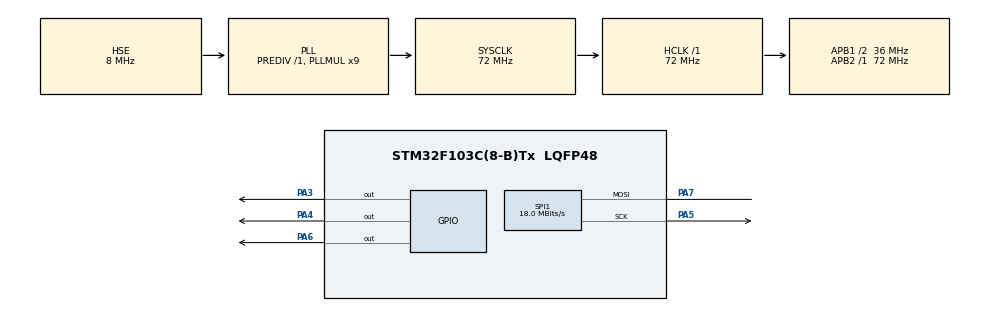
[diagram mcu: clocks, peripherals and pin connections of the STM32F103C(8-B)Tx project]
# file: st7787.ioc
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Mcu.Family=STM32F1
Mcu.Name=STM32F103C(8-B)Tx
Mcu.Package=LQFP48
NVIC.PriorityGroup=NVIC_PRIORITYGROUP_4
PA13.Mode=Serial_Wire
PA13.Signal=SYS_JTMS-SWDIO
PA14.Mode=Serial_Wire
PA14.Signal=SYS_JTCK-SWCLK
PA3.Signal=GPIO_Output
PA4.Signal=GPIO_Output
PA5.Mode=Simplex_Bidirectional_Master
PA5.Signal=SPI1_SCK
PA6.Signal=GPIO_Output
PA7.Mode=Simplex_Bidirectional_Master
PA7.Signal=SPI1_MOSI
PC14-OSC32_IN.Mode=LSE-External-Oscillator
PC14-OSC32_IN.Signal=RCC_OSC32_IN
PC15-OSC32_OUT.Mode=LSE-External-Oscillator
PC15-OSC32_OUT.Signal=RCC_OSC32_OUT
PD0-OSC_IN.Mode=HSE-External-Oscillator
PD0-OSC_IN.Signal=RCC_OSC_IN
PD1-OSC_OUT.Mode=HSE-External-Oscillator
PD1-OSC_OUT.Signal=RCC_OSC_OUT
ProjectManager.HeapSize=0x200
ProjectManager.StackSize=0x400
ProjectManager.TargetToolchain=MDK-ARM V5.32
RCC.AHBFreq_Value=72000000
RCC.APB1CLKDivider=RCC_HCLK_DIV2
RCC.APB1Freq_Value=36000000
RCC.APB1TimFreq_Value=72000000
RCC.APB2Freq_Value=72000000
RCC.APB2TimFreq_Value=72000000
RCC.HCLKFreq_Value=72000000
RCC.PLLMUL=RCC_PLL_MUL9
RCC.PLLSourceVirtual=RCC_PLLSOURCE_HSE
RCC.SYSCLKFreq_VALUE=72000000
RCC.SYSCLKSource=RCC_SYSCLKSOURCE_PLLCLK
RCC.USBFreq_Value=72000000
SPI1.BaudRatePrescaler=SPI_BAUDRATEPRESCALER_4
SPI1.CalculateBaudRate=18.0 MBits/s
SPI1.Direction=SPI_DIRECTION_1LINE
SPI1.Mode=SPI_MODE_MASTER
SPI1.VirtualType=VM_MASTER
board=custom

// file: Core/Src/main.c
/* USER CODE BEGIN Header */
/**
  ******************************************************************************
  * @file           : main.c
  * @brief          : Main program body
  ******************************************************************************
  * @attention
  *
  * Copyright (c) 2026 STMicroelectronics.
  * All rights reserved.
  *
  * This software is licensed under terms that can be found in the LICENSE file
  * in the root directory of this software component.
  * If no LICENSE file comes with this software, it is provided AS-IS.
  *
  ******************************************************************************
  */
/* USER CODE END Header */
#include "main.h"
#include "spi.h"
#include "gpio.h"
#include <stdio.h>
#include <string.h>

/* USER CODE BEGIN Includes */
#include "st7789.h"
#include "pc_uart.h"

/* USER CODE END Includes */

/* USER CODE BEGIN PV */
static uint8_t Dashboard_ImageInputRow[240];
static uint16_t Dashboard_ImageDisplayRow[ST7789_WIDTH];

/* USER CODE END PV */

void SystemClock_Config(void);

/* USER CODE BEGIN 0 */

static uint8_t Dashboard_ParseNumber(const char *text, uint8_t *number)
{
  uint16_t value = 0;
  uint8_t has_digit = 0;

  while ((*text >= '0') && (*text <= '9'))
  {
    has_digit = 1;
    value = (uint16_t)(value * 10U + (uint8_t)(*text - '0'));
    if (value > 100U)
    {
      return 0;
    }
    text++;
  }

  if (!has_digit || (*text != '\0'))
  {
    return 0;
  }
  *number = (uint8_t)value;
  return 1;
}

static void Dashboard_Update(uint8_t cpu, uint8_t memory,
                             const char *clock, const char *note)
{
  static uint8_t previous_cpu;
  static uint8_t previous_memory;
  static uint8_t initialized;
  static char previous_note[25];
  char text[25];
  uint8_t redraw_all = (uint8_t)!initialized;
  uint16_t old_width;
  uint16_t new_width;

  if (!initialized)
  {
    ST7789_Fill(16, 108, 223, 119, GRAYBLUE);
    ST7789_Fill(16, 164, 223, 175, GRAYBLUE);
    initialized = 1;
  }

  (void)snprintf(text, sizeof(text), "TIME %s", clock);
  ST7789_WriteString(16, 48, text, Font_11x18, WHITE, BLACK);

  if (redraw_all || (cpu != previous_cpu))
  {
    (void)snprintf(text, sizeof(text), "CPU %3u%%", cpu);
    ST7789_WriteString(16, 82, text, Font_11x18, YELLOW, BLACK);
  }

  old_width = (uint16_t)(207U * previous_cpu / 100U);
  new_width = (uint16_t)(207U * cpu / 100U);
  if (new_width > old_width)
  {
    ST7789_Fill((uint16_t)(16U + old_width), 108,
                (uint16_t)(15U + new_width), 119, CYAN);
  }
  else if (new_width < old_width)
  {
    ST7789_Fill((uint16_t)(16U + new_width), 108,
                (uint16_t)(15U + old_width), 119, GRAYBLUE);
  }
  previous_cpu = cpu;

  if (redraw_all || (memory != previous_memory))
  {
    (void)snprintf(text, sizeof(text), "MEM %3u%%", memory);
    ST7789_WriteString(16, 138, text, Font_11x18, YELLOW, BLACK);
  }
  old_width = (uint16_t)(207U * previous_memory / 100U);
  new_width = (uint16_t)(207U * memory / 100U);
  if (new_width > old_width)
  {
    ST7789_Fill((uint16_t)(16U + old_width), 164,
                (uint16_t)(15U + new_width), 175, GREEN);
  }
  else if (new_width < old_width)
  {
    ST7789_Fill((uint16_t)(16U + new_width), 164,
                (uint16_t)(15U + old_width), 175, GRAYBLUE);
  }
  previous_memory = memory;

  if (strcmp(previous_note, note) != 0)
  {
    (void)snprintf(text, sizeof(text), "%-24.24s", note);
    ST7789_WriteString(16, 210, text, Font_7x10, WHITE, BLACK);
    (void)snprintf(previous_note, sizeof(previous_note), "%-24.24s", note);
  }
}

static void Dashboard_Init(void)
{
  ST7789_Fill_Color(BLACK);
  ST7789_WriteString(16, 16, "PC DASHBOARD", Font_11x18, CYAN, BLACK);
  ST7789_WriteString(16, 82, "CPU", Font_11x18, YELLOW, BLACK);
  ST7789_WriteString(16, 138, "MEM", Font_11x18, YELLOW, BLACK);
  ST7789_WriteString(16, 191, "NOTE", Font_7x10, CYAN, BLACK);
  Dashboard_Update(0, 0, "--:--:--", "Waiting for PC...");
}

static void Dashboard_HandleLine(char *line)
{
  char *cpu_text = line;
  char *memory_text = strchr(cpu_text, ',');
  char *clock_text;
  char *note_text;
  uint8_t cpu;
  uint8_t memory;
  char clock[9];
  char note[25];
  size_t i;

  if (strcmp(line, "IMG") == 0)
  {
    uint16_t x;
    uint16_t y;

    for (y = 0; y < 120U; y++)
    {
      if (PC_UART_ReadBytes(Dashboard_ImageInputRow,
                            sizeof(Dashboard_ImageInputRow), 1000U) != HAL_OK)
      {
        ST7789_Fill_Color(BLACK);
        ST7789_WriteString(16, 110, "IMAGE RX ERROR", Font_11x18, RED, BLACK);
        return;
      }

      for (x = 0; x < 120U; x++)
      {
        uint16_t color = (uint16_t)(
            ((uint16_t)Dashboard_ImageInputRow[2U * x] << 8) |
            Dashboard_ImageInputRow[2U * x + 1U]);
        uint16_t display_color = (uint16_t)((color << 8) | (color >> 8));
        Dashboard_ImageDisplayRow[2U * x] = display_color;
        Dashboard_ImageDisplayRow[2U * x + 1U] = display_color;
      }

      ST7789_DrawImage(0, (uint16_t)(2U * y), ST7789_WIDTH, 1,
                       Dashboard_ImageDisplayRow);
      ST7789_DrawImage(0, (uint16_t)(2U * y + 1U), ST7789_WIDTH, 1,
                       Dashboard_ImageDisplayRow);
    }
    return;
  }

  if (memory_text == NULL)
  {
    return;
  }
  *memory_text++ = '\0';
  clock_text = strchr(memory_text, ',');
  if (clock_text == NULL)
  {
    return;
  }
  *clock_text++ = '\0';
  note_text = strchr(clock_text, ',');
  if (note_text == NULL)
  {
    return;
  }
  *note_text++ = '\0';

  if (!Dashboard_ParseNumber(cpu_text, &cpu) ||
      !Dashboard_ParseNumber(memory_text, &memory))
  {
    return;
  }
  for (i = 0; (i < sizeof(clock) - 1U) && (clock_text[i] != '\0'); i++)
  {
    clock[i] = clock_text[i];
  }
  clock[i] = '\0';
  for (i = 0; (i < sizeof(note) - 1U) && (note_text[i] != '\0'); i++)
  {
    note[i] = note_text[i];
  }
  note[i] = '\0';

  Dashboard_Update(cpu, memory, clock, note);
}

/* USER CODE END 0 */

int main(void)
{

  /* MCU Configuration--------------------------------------------------------*/

  /* Reset of all peripherals, Initializes the Flash interface and the Systick. */
  HAL_Init();

  /* Configure the system clock */
  SystemClock_Config();

  /* Initialize all configured peripherals */
  MX_GPIO_Init();
  MX_SPI1_Init();
  if (PC_UART_Init() != HAL_OK)
  {
    Error_Handler();
  }

  /* USER CODE BEGIN 2 */
  HAL_Delay(1000);
  ST7789_Init();
  Dashboard_Init();

  /* USER CODE END 2 */

  /* Infinite loop */
  /* USER CODE BEGIN WHILE */
  while (1)
  {
    char line[96];
    int result = PC_UART_ReadLine(line, sizeof(line));
    if (result == 1)
    {
      Dashboard_HandleLine(line);
    }
    /* USER CODE END WHILE */

  }
}

void SystemClock_Config(void)
{
  RCC_OscInitTypeDef RCC_OscInitStruct = {0};
  RCC_ClkInitTypeDef RCC_ClkInitStruct = {0};

  /** Initializes the RCC Oscillators according to the specified parameters
  * in the RCC_OscInitTypeDef structure.
  */
  RCC_OscInitStruct.OscillatorType = RCC_OSCILLATORTYPE_HSE;
  RCC_OscInitStruct.HSEState = RCC_HSE_ON;
  RCC_OscInitStruct.HSEPredivValue = RCC_HSE_PREDIV_DIV1;
  RCC_OscInitStruct.HSIState = RCC_HSI_ON;
  RCC_OscInitStruct.PLL.PLLState = RCC_PLL_ON;
  RCC_OscInitStruct.PLL.PLLSource = RCC_PLLSOURCE_HSE;
  RCC_OscInitStruct.PLL.PLLMUL = RCC_PLL_MUL9;
  if (HAL_RCC_OscConfig(&RCC_OscInitStruct) != HAL_OK)
  {
    Error_Handler();
  }

  /** Initializes the CPU, AHB and APB buses clocks
  */
  RCC_ClkInitStruct.ClockType = RCC_CLOCKTYPE_HCLK|RCC_CLOCKTYPE_SYSCLK
                              |RCC_CLOCKTYPE_PCLK1|RCC_CLOCKTYPE_PCLK2;
  RCC_ClkInitStruct.SYSCLKSource = RCC_SYSCLKSOURCE_PLLCLK;
  RCC_ClkInitStruct.AHBCLKDivider = RCC_SYSCLK_DIV1;
  RCC_ClkInitStruct.APB1CLKDivider = RCC_HCLK_DIV2;
  RCC_ClkInitStruct.APB2CLKDivider = RCC_HCLK_DIV1;

  if (HAL_RCC_ClockConfig(&RCC_ClkInitStruct, FLASH_LATENCY_2) != HAL_OK)
  {
    Error_Handler();
  }
}

void Error_Handler(void)
{
  __disable_irq();
  while (1)
  {
  }
}
